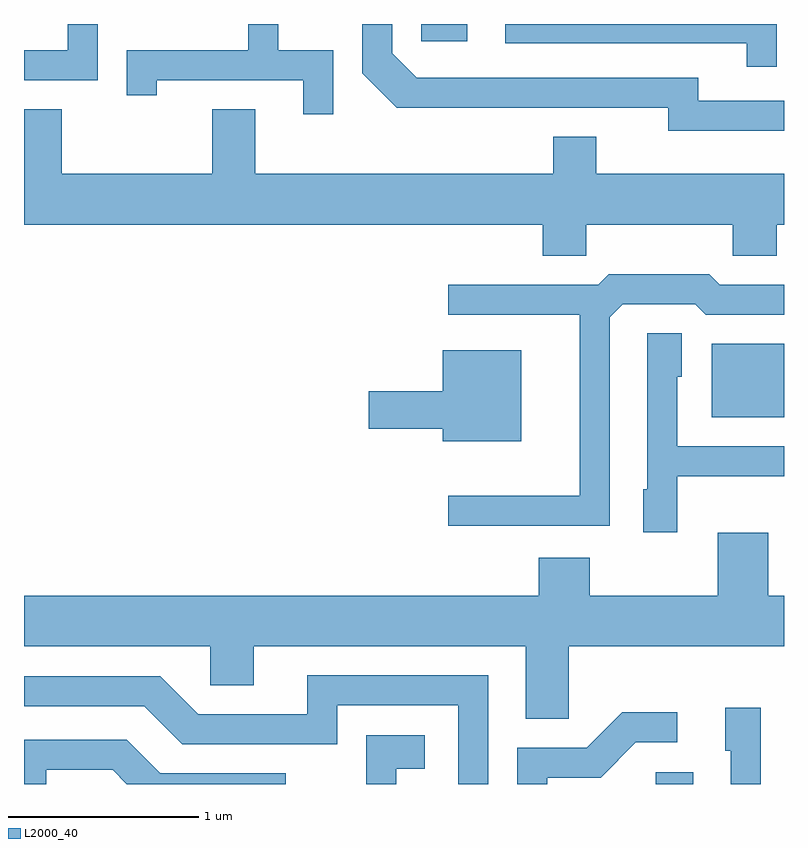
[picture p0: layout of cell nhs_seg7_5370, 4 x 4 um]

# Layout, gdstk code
import gdstk
lib = gdstk.Library(unit=1e-6, precision=1e-09)
def R(c, l, rs):  # rectangles x0, y0, x1, y1
    for r in rs: c.add(gdstk.rectangle(r[:2], r[2:], *l))
def P(c, l, *ps):  # polygons
    for p in ps: c.add(gdstk.Polygon(p, *l))
L2000_40 = (2000, 40)

nhs_seg7_5370 = lib.new_cell('nhs_seg7_5370')
R(nhs_seg7_5370, L2000_40, [(352.936,1720.252,353.134,1720.314), (353.231,1722.181,353.611,1722.569), (351.701,1724.161,351.943,1724.252)])
P(nhs_seg7_5370, L2000_40, [(353.611,1723.849),(353.159,1723.849),(353.159,1723.969),(351.677,1723.969),(351.549,1724.097),(351.549,1724.252),(351.391,1724.252),(351.391,1723.994),(351.574,1723.811),(353.001,1723.811),(353.001,1723.691),(353.611,1723.691)],
  [(351.239,1724.114),(350.949,1724.114),(350.949,1724.252),(350.791,1724.252),(350.791,1724.114),(350.151,1724.114),(350.151,1723.878),(350.309,1723.878),(350.309,1723.956),(351.081,1723.956),(351.081,1723.778),(351.239,1723.778)],
  [(349.999,1724.252),(349.841,1724.252),(349.841,1724.114),(349.611,1724.114),(349.611,1723.956),(349.999,1723.956)],
  [(353.574,1724.252),(352.143,1724.252),(352.143,1724.151),(353.416,1724.151),(353.416,1724.028),(353.574,1724.028)],
  [(352.569,1723.196),(353.341,1723.196),(353.341,1723.031),(353.574,1723.031),(353.574,1723.196),(353.611,1723.196),(353.611,1723.464),(352.624,1723.464),(352.624,1723.659),(352.396,1723.659),(352.396,1723.464),(350.829,1723.464),(350.829,1723.804),(350.601,1723.804),(350.601,1723.464),(349.809,1723.464),(349.809,1723.804),(349.611,1723.804),(349.611,1723.196),(352.341,1723.196),(352.341,1723.031),(352.569,1723.031)],
  [(352.694,1722.709),(352.762,1722.776),(353.144,1722.776),(353.199,1722.721),(353.611,1722.721),(353.611,1722.879),(353.272,1722.879),(353.217,1722.934),(352.689,1722.934),(352.634,1722.879),(351.843,1722.879),(351.843,1722.721),(352.536,1722.721),(352.536,1721.769),(351.843,1721.769),(351.843,1721.611),(352.694,1721.611)],
  [(353.049,1721.871),(353.611,1721.871),(353.611,1722.029),(353.049,1722.029),(353.049,1722.396),(353.074,1722.396),(353.074,1722.624),(352.891,1722.624),(352.891,1721.804),(352.871,1721.804),(352.871,1721.576),(353.049,1721.576)],
  [(352.229,1722.534),(351.816,1722.534),(351.816,1722.319),(351.426,1722.319),(351.426,1722.121),(351.816,1722.121),(351.816,1722.056),(352.229,1722.056)],
  [(352.479,1720.976),(353.611,1720.976),(353.611,1721.244),(353.529,1721.244),(353.529,1721.574),(353.261,1721.574),(353.261,1721.244),(352.589,1721.244),(352.589,1721.444),(352.321,1721.444),(352.321,1721.244),(349.611,1721.244),(349.611,1720.976),(350.591,1720.976),(350.591,1720.771),(350.819,1720.771),(350.819,1720.976),(352.251,1720.976),(352.251,1720.596),(352.479,1720.596)],
  [(352.054,1720.824),(351.101,1720.824),(351.101,1720.619),(350.527,1720.619),(350.327,1720.819),(349.611,1720.819),(349.611,1720.661),(350.244,1720.661),(350.444,1720.461),(351.259,1720.461),(351.259,1720.666),(351.896,1720.666),(351.896,1720.252),(352.054,1720.252)],
  [(353.489,1720.654),(353.301,1720.654),(353.301,1720.426),(353.331,1720.426),(353.331,1720.252),(353.489,1720.252)],
  [(352.364,1720.286),(352.647,1720.286),(352.832,1720.471),(353.048,1720.471),(353.048,1720.629),(352.759,1720.629),(352.574,1720.444),(352.206,1720.444),(352.206,1720.252),(352.364,1720.252)],
  [(351.569,1720.331),(351.719,1720.331),(351.719,1720.509),(351.411,1720.509),(351.411,1720.252),(351.569,1720.252)],
  [(349.729,1720.326),(350.079,1720.326),(350.153,1720.252),(350.989,1720.252),(350.989,1720.309),(350.327,1720.309),(350.152,1720.484),(349.611,1720.484),(349.611,1720.252),(349.729,1720.252)])

lib.write_gds('nhs_seg7_5370.gds')
